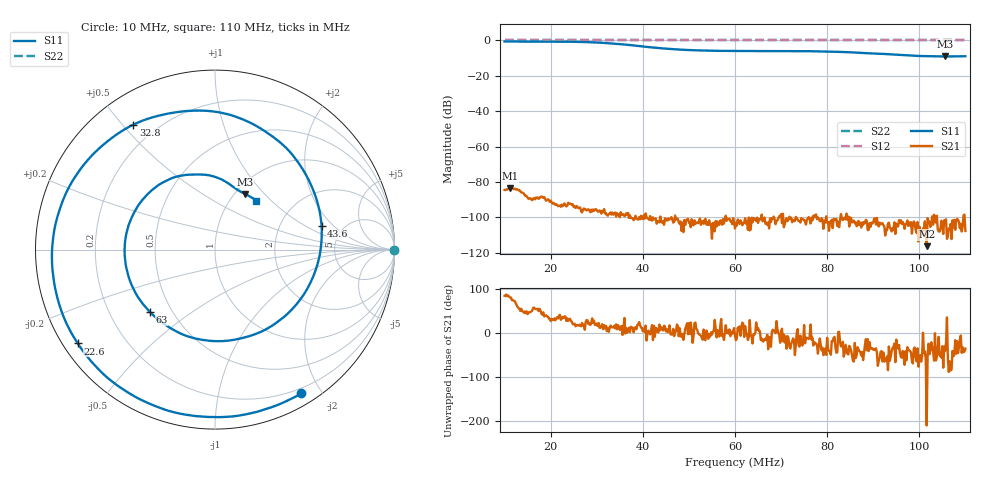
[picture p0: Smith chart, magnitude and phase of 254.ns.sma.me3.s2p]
! Anritsu VNA Master:  Model: MS2036C/10/77
! SN:  1601066
! /card0/usr/254.ns.sma.me3.s2p
! Existing Calibration Information:
! TYPE:  Current Settings,  Active Cal Settings
! TIME:  12/20/2017 02:04:00 PM,  12/20/2017 02:00:00 PM
! INTERNAL TEMP:  47.3 C,  47.0 C
! # POINTS:  501,  501
! START FREQ:  10.000 MHz,  10.000 MHz
! STOP FREQ:  110.000 MHz,  110.000 MHz
! SOURCE POWER:  High,  High
! IFBW:  100 Hz,  100 Hz
! AVG FACTOR:  1 ,  1
! REF PLANE 1:  0 mm,  0 mm
! REF PLANE 2:  0 mm,  0 mm
! CAL TYPE:  Full S11,  Full S11
! CAL METHOD:  SOLT,  SOLT
! CAL LINE TYPE:  Coax,  Coax
! DUT PORT 1:  N-Conn(F),  N-Conn(F)
! DUT PORT 2:  K-Conn(F),  K-Conn(F)
! CAL STATUS:  OK: Accuracy High,  --
# GHZ S DB R 50.0
! FREQ.GHZ  S11DB  S11A  S21DB  S21A  S12DB  S12A  S22DB  S22A
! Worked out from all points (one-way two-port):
!   501 points, 10 MHz to 110 MHz, reference 50 ohm
!   highest |S21| = -83.66 dB at 11.2 MHz (marker M1); lowest = -116.4 dB at 101.6 MHz (marker M2)
!   lowest |S11| = -9.1 dB at 105.6 MHz (marker M3), VSWR 2.09, Z = 55.3 + j39.2 ohm
!   |S11| at or under -10 dB: nowhere
!   |S22| runs from 0.0 to 0.0 dB; largest |S21 - S12| = 1
!   S11 on the Smith chart (normalised r, x): 10 MHz: 0.14, -1.76; 22.6 MHz: 0.04, -0.31; 32.8 MHz: 0.12, +0.54; 43.6 MHz: 3.46, +1.43; 63 MHz: 0.38, -0.35; 110 MHz: 1.31, +0.82
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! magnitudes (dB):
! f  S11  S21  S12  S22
! 10 MHz  -0.6  -84.6  0.0  0.0
! 11.2 MHz  -0.6  -83.7  0.0  0.0
! 22.6 MHz  -0.7  -93.8  0.0  0.0
! 26.8 MHz  -0.8  -97.3  0.0  0.0
! 29.4 MHz  -1.1  -96.4  0.0  0.0
! 32.8 MHz  -1.6  -97.9  0.0  0.0
! 36.4 MHz  -2.4  -97.8  0.0  0.0
! 43.4 MHz  -4.3  -102.3  0.0  0.0
! 43.6 MHz  -4.3  -103.0  0.0  0.0
! 46.6 MHz  -4.9  -103.0  0.0  0.0
! 50.4 MHz  -5.5  -105.7  0.0  0.0
! 53.8 MHz  -5.8  -104.2  0.0  0.0
! 60 MHz  -6.0  -106.4  0.0  0.0
! 63 MHz  -6.0  -100.2  0.0  0.0
! 71 MHz  -6.0  -101.8  0.0  0.0
! 76.8 MHz  -6.1  -101.9  0.0  0.0
! 84.4 MHz  -6.6  -101.4  0.0  0.0
! 93.4 MHz  -7.8  -103.1  0.0  0.0
! 98.6 MHz  -8.6  -104.0  0.0  0.0
! 101.6 MHz  -8.9  -116.4  0.0  0.0
! 105.6 MHz  -9.1  -102.6  0.0  0.0
! 110 MHz  -8.9  -107.8  0.0  0.0
